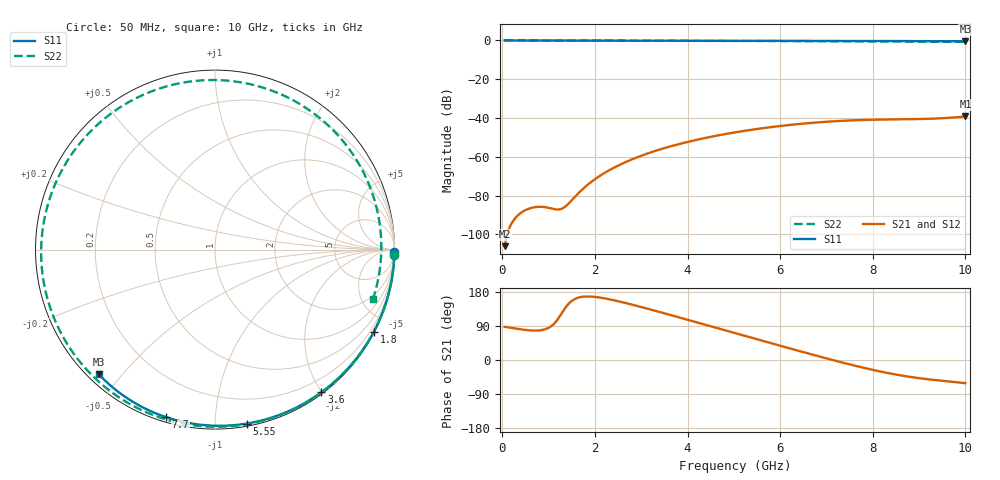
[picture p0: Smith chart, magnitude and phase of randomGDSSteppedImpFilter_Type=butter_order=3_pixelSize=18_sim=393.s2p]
! freq	dB(S11)	phase(S11)	dB(S12)	phase(S12)
!  dB(S21)	phase(S21)	dB(S22)	phase(S22)
!S-par simulation data
#  GHz  S  DB  R 50
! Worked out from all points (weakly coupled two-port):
!   200 points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, 50 MHz to 10 GHz, reference 50 ohm
!   highest |S21| = -39.23 dB at 10 GHz (marker M1); lowest = -106.1 dB at 50 MHz (marker M2)
!   lowest |S11| = -0.5 dB at 10 GHz (marker M3), VSWR 38.58, Z = 1.54 - j21.7 ohm
!   |S11| at or under -10 dB: nowhere
!   |S22| runs from -0.7 to 0.0 dB; largest |S21 - S12| = 0
!   S11 on the Smith chart (normalised r, x): 50 MHz: open; 1.8 GHz: 0.04, -4.12; 3.6 GHz: 0.02, -1.99; 5.55 GHz: 0.02, -1.20; 7.7 GHz: 0.02, -0.75; 10 GHz: 0.03, -0.43
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0.05  -0.00 -0.8  -106.14 87.4  -106.14 87.4  -0.00 -1.8
0.75  -0.01 -11.5  -85.87 77.6  -85.87 77.6  -0.03 -26.3
1.55  -0.03 -23.6  -81.13 159.9  -81.13 159.9  -0.07 -53.5
1.6  -0.03 -24.3  -79.87 162.8  -79.87 162.8  -0.07 -55.2
1.75  -0.03 -26.5  -76.39 167.1  -76.39 167.1  -0.08 -60.2
1.8  -0.03 -27.3  -75.34 167.5  -75.34 167.5  -0.08 -61.9
2.45  -0.05 -36.9  -65.18 156.6  -65.18 156.6  -0.10 -83.0
3.4  -0.07 -50.5  -56.28 126.6  -56.28 126.6  -0.14 -112.8
3.6  -0.07 -53.3  -54.87 119.8  -54.87 119.8  -0.15 -119.0
4.35  -0.09 -63.7  -50.47 94.2  -50.47 94.2  -0.19 -142.1
5.05  -0.11 -73.1  -47.33 70.2  -47.33 70.2  -0.24 -164.2
5.55  -0.13 -79.6  -45.51 53.0  -45.51 53.0  -0.28 179.4
6.15  -0.15 -87.3  -43.74 32.6  -43.74 32.6  -0.33 158.5
6.7  -0.18 -94.2  -42.48 14.1  -42.48 14.1  -0.38 137.8
7.25  -0.21 -100.9  -41.58 -3.8  -41.58 -3.8  -0.44 115.3
7.7  -0.24 -106.3  -41.10 -17.5  -41.10 -17.5  -0.48 95.4
8.05  -0.27 -110.5  -40.87 -27.4  -40.87 -27.4  -0.51 79.0
8.35  -0.29 -114.0  -40.76 -35.0  -40.76 -35.0  -0.54 64.4
8.8  -0.33 -119.3  -40.64 -44.5  -40.64 -44.5  -0.58 42.0
9.2  -0.37 -123.9  -40.43 -51.0  -40.43 -51.0  -0.62 21.9
9.6  -0.41 -128.5  -39.99 -56.1  -39.99 -56.1  -0.66 2.0
10  -0.45 -133.1  -39.23 -61.1  -39.23 -61.1  -0.71 -17.2
